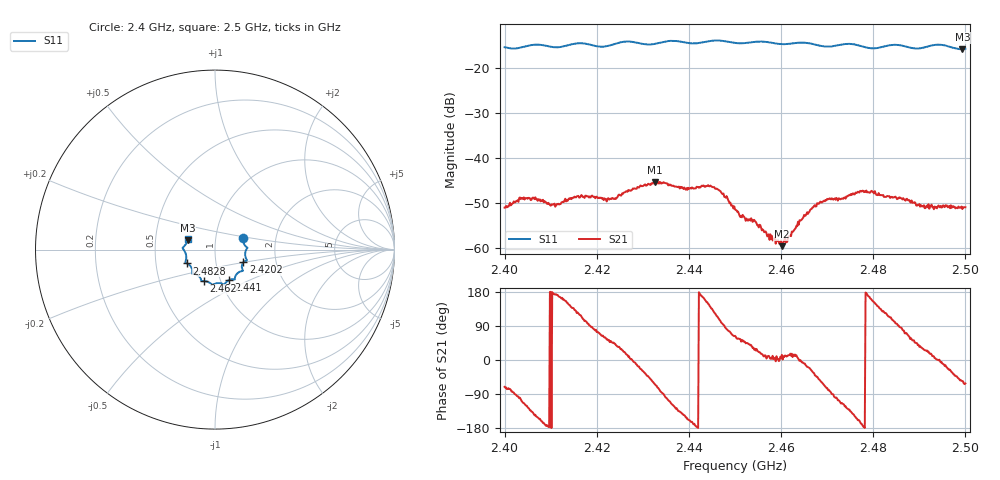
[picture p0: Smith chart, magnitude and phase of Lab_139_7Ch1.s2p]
# Hz S RI R 50
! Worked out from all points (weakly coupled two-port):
!   601 points, 2.4 GHz to 2.5 GHz, reference 50 ohm
!   highest |S21| = -45.28 dB at 2.4327 GHz (marker M1); lowest = -59.5 dB at 2.4602 GHz (marker M2)
!   lowest |S11| = -15.8 dB at 2.4993 GHz (marker M3), VSWR 1.39, Z = 36.5 + j3.84 ohm
!   |S11| at or under -10 dB: start of sweep to end of sweep
!   S12 and S22 are empty: the file has one direction only
!   S11 on the Smith chart (normalised r, x): 2.4 GHz: 1.36, +0.18; 2.4202 GHz: 1.36, -0.20; 2.441 GHz: 1.10, -0.39; 2.462 GHz: 0.84, -0.30; 2.4828 GHz: 0.72, -0.11; 2.5 GHz: 0.73, +0.09
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2.4e9  0.1575 0.0629  0.000918 -0.00266  0 0  0 0
2.403667e9  0.1673 0.0221  -0.00109 -0.00344  0 0  0 0
2.4105e9  0.17 -0.0106  -0.00305 0.000288  0 0  0 0
2.416667e9  0.1778 -0.0601  -0.00164 0.00353  0 0  0 0
2.420167e9  0.1581 -0.0709  0.000962 0.00348  0 0  0 0
2.424e9  0.1515 -0.1065  0.00263 0.00243  0 0  0 0
2.432667e9  0.1147 -0.1452  0.00233 -0.00492  0 0  0 0
2.433333e9  0.1122 -0.1511  0.00146 -0.00501  0 0  0 0
2.441e9  0.0787 -0.1695  -0.0045 -0.000805  0 0  0 0
2.445833e9  0.051 -0.195  -0.00228 0.00395  0 0  0 0
2.45e9  0.0284 -0.1871  0.00119 0.00243  0 0  0 0
2.460167e9  -0.0428 -0.1785  0.00102 0.000249  0 0  0 0
2.462e9  -0.0604 -0.1754  0.00133 0.0004  0 0  0 0
2.466667e9  -0.078 -0.1681  0.0024 -0.00133  0 0  0 0
2.470167e9  -0.0966 -0.1425  0.000674 -0.00342  0 0  0 0
2.477167e9  -0.126 -0.1231  -0.00416 -0.00119  0 0  0 0
2.482833e9  -0.1574 -0.0774  -0.00199 0.00313  0 0  0 0
2.483333e9  -0.1605 -0.0761  -0.00155 0.00343  0 0  0 0
2.491e9  -0.1679 -0.0114  0.00267 0.00137  0 0  0 0
2.494333e9  -0.1806 0.0093  0.00288 4.56e-05  0 0  0 0
2.499333e9  -0.1531 0.0512  0.00154 -0.00224  0 0  0 0
2.5e9  -0.1515 0.061  0.00134 -0.00251  0 0  0 0
